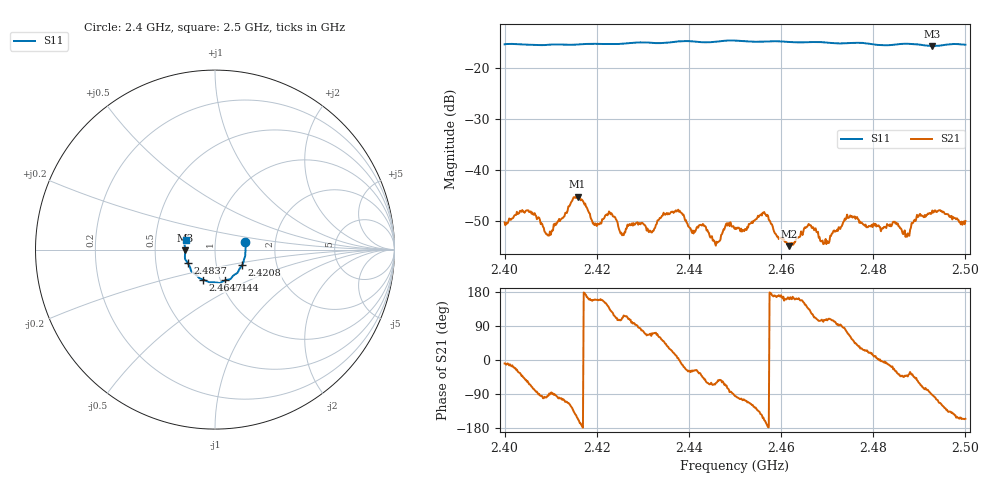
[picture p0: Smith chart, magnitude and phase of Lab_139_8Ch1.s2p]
# Hz S RI R 50
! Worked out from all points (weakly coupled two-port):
!   601 points, 2.4 GHz to 2.5 GHz, reference 50 ohm
!   highest |S21| = -45.25 dB at 2.4158 GHz (marker M1); lowest = -55.0 dB at 2.4617 GHz (marker M2)
!   lowest |S11| = -15.6 dB at 2.4928 GHz (marker M3), VSWR 1.40, Z = 35.8 - j0.353 ohm
!   |S11| at or under -10 dB: start of sweep to end of sweep
!   S12 and S22 are empty: the file has one direction only
!   S11 on the Smith chart (normalised r, x): 2.4 GHz: 1.40, +0.12; 2.4208 GHz: 1.33, -0.24; 2.444 GHz: 1.06, -0.37; 2.4647 GHz: 0.83, -0.29; 2.4837 GHz: 0.73, -0.11; 2.5 GHz: 0.72, +0.08
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2.4e9  0.1675 0.0412  0.003 -0.00048  0 0  0 0
2.405167e9  0.1704 0.00744  0.00199 -0.00347  0 0  0 0
2.4095e9  0.1687 -0.0251  -0.00016 -0.00225  0 0  0 0
2.415833e9  0.1602 -0.0623  -0.00491 -0.0024  0 0  0 0
2.416667e9  0.1589 -0.0682  -0.00505 -0.000744  0 0  0 0
2.420833e9  0.1503 -0.087  -0.00279 0.000989  0 0  0 0
2.433333e9  0.1078 -0.1403  0.00145 0.00286  0 0  0 0
2.437667e9  0.0891 -0.161  0.00404 0.000362  0 0  0 0
2.444e9  0.058 -0.1708  0.00126 -0.00223  0 0  0 0
2.446167e9  0.0423 -0.1784  0.00104 -0.00162  0 0  0 0
2.45e9  0.0245 -0.186  -0.000239 -0.00261  0 0  0 0
2.4565e9  -0.0169 -0.1824  -0.00347 -0.00125  0 0  0 0
2.461667e9  -0.0448 -0.1761  -0.00168 0.000563  0 0  0 0
2.464667e9  -0.0674 -0.1672  -0.00208 0.000943  0 0  0 0
2.466667e9  -0.0799 -0.1628  -0.00141 0.00228  0 0  0 0
2.469667e9  -0.0917 -0.1544  -0.000561 0.00201  0 0  0 0
2.474833e9  -0.1213 -0.1296  0.00147 0.00308  0 0  0 0
2.483333e9  -0.1507 -0.0763  0.00279 -0.000577  0 0  0 0
2.483667e9  -0.1525 -0.0734  0.00282 -0.000747  0 0  0 0
2.4875e9  -0.1671 -0.0501  0.00173 -0.00163  0 0  0 0
2.492833e9  -0.1659 -0.0048  -0.000157 -0.00398  0 0  0 0
2.5e9  -0.1623 0.0527  -0.00285 -0.00133  0 0  0 0
